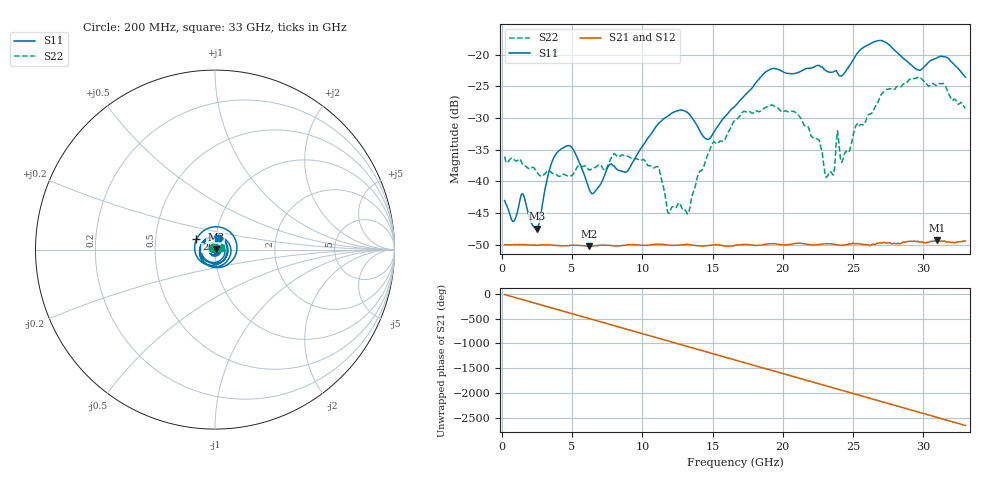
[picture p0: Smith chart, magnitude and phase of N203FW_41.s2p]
# GHZ S RI R 50
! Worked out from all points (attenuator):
!   329 points, 200 MHz to 33 GHz, reference 50 ohm
!   highest |S21| = -49.29 dB at 31 GHz (marker M1); lowest = -50.2 dB at 6.2 GHz (marker M2)
!   lowest |S11| = -47.4 dB at 2.5 GHz (marker M3), VSWR 1.01, Z = 50.4 + j0.227 ohm
!   |S11| at or under -10 dB: start of sweep to end of sweep
!   |S22| runs from -45.1 to -23.5 dB; largest |S21 - S12| = 8.8e-05
!   S11 on the Smith chart (normalised r, x): 200 MHz: 1.01, +0.01; 26 GHz: 0.81, +0.09; 33 GHz: 1.03, +0.13
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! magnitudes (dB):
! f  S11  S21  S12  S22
! 200 MHz  -43.0  -50.0  -49.9  -36.1
! 800 MHz  -46.3  -50.0  -50.0  -36.4
! 1.5 GHz  -41.9  -49.9  -49.9  -37.4
! 2.5 GHz  -47.4  -50.1  -50.0  -38.5
! 3.9 GHz  -35.5  -50.1  -50.1  -38.9
! 5.7 GHz  -38.0  -50.1  -50.1  -37.7
! 6.2 GHz  -41.1  -50.2  -50.2  -38.2
! 8.9 GHz  -38.5  -50.0  -50.0  -36.0
! 11.2 GHz  -30.8  -49.9  -49.9  -38.0
! 11.8 GHz  -29.7  -50.0  -50.0  -44.8
! 13.3 GHz  -29.3  -49.9  -50.0  -45.0
! 14.7 GHz  -33.4  -50.1  -50.1  -35.6
! 16.6 GHz  -28.1  -50.1  -50.1  -30.3
! 19.3 GHz  -22.2  -49.8  -49.8  -28.0
! 22.1 GHz  -22.1  -50.0  -50.0  -33.0
! 23.6 GHz  -22.7  -49.9  -49.9  -39.0
! 23.9 GHz  -22.9  -50.0  -50.0  -32.0
! 24.2 GHz  -23.4  -50.0  -50.0  -37.0
! 26 GHz  -18.6  -50.0  -49.9  -29.8
! 27.6 GHz  -18.5  -49.7  -49.7  -25.4
! 31 GHz  -20.5  -49.3  -49.3  -24.8
! 33 GHz  -23.6  -49.4  -49.4  -28.5
